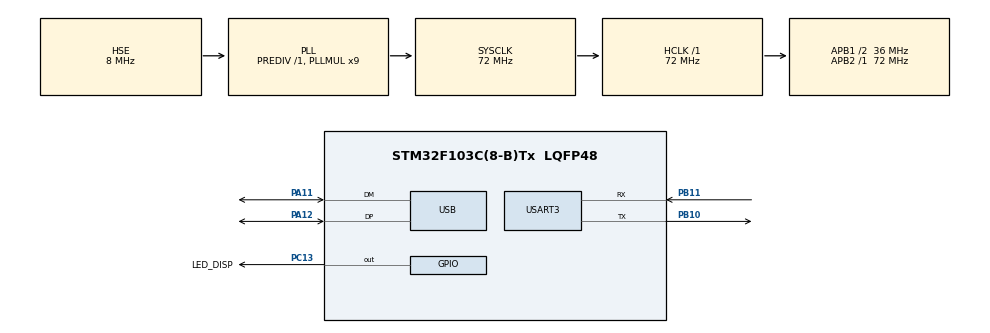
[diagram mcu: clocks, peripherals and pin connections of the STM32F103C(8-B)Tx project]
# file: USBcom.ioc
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Mcu.Family=STM32F1
Mcu.Name=STM32F103C(8-B)Tx
Mcu.Package=LQFP48
NVIC.PriorityGroup=NVIC_PRIORITYGROUP_4
NVIC.USART3_IRQn=true\:0\:0\:false\:false\:true\:true\:true\:true
NVIC.USB_LP_CAN1_RX0_IRQn=true\:0\:0\:false\:false\:true\:false\:true\:true
PA0-WKUP.Mode=SYS_WakeUp0
PA0-WKUP.Signal=SYS_WKUP
PA11.Mode=Device
PA11.Signal=USB_DM
PA12.Mode=Device
PA12.Signal=USB_DP
PB10.Mode=Asynchronous
PB10.Signal=USART3_TX
PB11.Mode=Asynchronous
PB11.Signal=USART3_RX
PC13-TAMPER-RTC.GPIO_Label=LED_DISP
PC13-TAMPER-RTC.Signal=GPIO_Output
PC14-OSC32_IN.Mode=LSE-External-Oscillator
PC14-OSC32_IN.Signal=RCC_OSC32_IN
PC15-OSC32_OUT.Mode=LSE-External-Oscillator
PC15-OSC32_OUT.Signal=RCC_OSC32_OUT
PD0-OSC_IN.Mode=HSE-External-Oscillator
PD0-OSC_IN.Signal=RCC_OSC_IN
PD1-OSC_OUT.Mode=HSE-External-Oscillator
PD1-OSC_OUT.Signal=RCC_OSC_OUT
ProjectManager.HeapSize=0x200
ProjectManager.StackSize=0x400
ProjectManager.TargetToolchain=MDK-ARM V5.32
RCC.AHBFreq_Value=72000000
RCC.APB1CLKDivider=RCC_HCLK_DIV2
RCC.APB1Freq_Value=36000000
RCC.APB1TimFreq_Value=72000000
RCC.APB2Freq_Value=72000000
RCC.APB2TimFreq_Value=72000000
RCC.HCLKFreq_Value=72000000
RCC.PLLMUL=RCC_PLL_MUL9
RCC.SYSCLKFreq_VALUE=72000000
RCC.SYSCLKSource=RCC_SYSCLKSOURCE_PLLCLK
RCC.USBFreq_Value=48000000
RCC.USBPrescaler=RCC_USBCLKSOURCE_PLL_DIV1_5
USART3.VirtualMode=VM_ASYNC
USB_DEVICE.CLASS_NAME_FS=CDC
USB_DEVICE.VirtualMode=Cdc
USB_DEVICE.VirtualModeFS=Cdc_FS
VP_SYS_VS_ND.Mode=No_Debug
VP_USB_DEVICE_VS_USB_DEVICE_CDC_FS.Mode=CDC_FS
board=custom

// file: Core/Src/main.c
/* USER CODE BEGIN Header */
/**
  ******************************************************************************
  * @file           : main.c
  * @brief          : Main program body
  ******************************************************************************
  * @attention
  *
  * Copyright (c) 2023 STMicroelectronics.
  * All rights reserved.
  *
  * This software is licensed under terms that can be found in the LICENSE file
  * in the root directory of this software component.
  * If no LICENSE file comes with this software, it is provided AS-IS.
  *
  ******************************************************************************
  */
/* USER CODE END Header */
#include "main.h"
#include "usart.h"
#include "usb_device.h"
#include "gpio.h"

/* USER CODE BEGIN Includes */

#include "usbd_cdc_if.h"
#include "stdio.h"
#include "string.h"
#include "usb_task.h"

/* USER CODE END Includes */

void SystemClock_Config(void);

/* USER CODE BEGIN 0 */
void USB_Status_Init(void)
{
    GPIO_InitTypeDef GPIO_InitStruct = {0};

    /* GPIO Ports Clock Enable */
    __HAL_RCC_GPIOA_CLK_ENABLE();

    /*Configure GPIO pin Output Level */
    HAL_GPIO_WritePin(GPIOA, GPIO_PIN_11 | GPIO_PIN_12, GPIO_PIN_RESET);

    /*Configure GPIO pin : W25Q256_CS_Pin */
    GPIO_InitStruct.Pin = GPIO_PIN_11 | GPIO_PIN_12;
    GPIO_InitStruct.Mode = GPIO_MODE_OUTPUT_PP;
    GPIO_InitStruct.Pull = GPIO_PULLDOWN;
    GPIO_InitStruct.Speed = GPIO_SPEED_FREQ_LOW;
    HAL_GPIO_Init(GPIOA, &GPIO_InitStruct);
    HAL_Delay(10);
}

/* USER CODE END 0 */

int main(void)
{

  /* MCU Configuration--------------------------------------------------------*/

  /* Reset of all peripherals, Initializes the Flash interface and the Systick. */
  HAL_Init();

  /* USER CODE BEGIN Init */
  USB_Status_Init();

  /* USER CODE END Init */

  /* Configure the system clock */
  SystemClock_Config();

  /* Initialize all configured peripherals */
  MX_GPIO_Init();
  MX_USB_DEVICE_Init();
  MX_USART3_UART_Init();
  /* USER CODE BEGIN 2 */
  usb_init();
  /* USER CODE END 2 */

  /* Infinite loop */
  while (1)
  {

    /* USER CODE BEGIN 3 */
    HAL_GPIO_TogglePin(LED_DISP_GPIO_Port,LED_DISP_Pin);
    HAL_Delay(500);
  }
  /* USER CODE END 3 */
}

void SystemClock_Config(void)
{
  RCC_OscInitTypeDef RCC_OscInitStruct = {0};
  RCC_ClkInitTypeDef RCC_ClkInitStruct = {0};
  RCC_PeriphCLKInitTypeDef PeriphClkInit = {0};

  /** Initializes the RCC Oscillators according to the specified parameters
  * in the RCC_OscInitTypeDef structure.
  */
  RCC_OscInitStruct.OscillatorType = RCC_OSCILLATORTYPE_HSE;
  RCC_OscInitStruct.HSEState = RCC_HSE_ON;
  RCC_OscInitStruct.HSEPredivValue = RCC_HSE_PREDIV_DIV1;
  RCC_OscInitStruct.HSIState = RCC_HSI_ON;
  RCC_OscInitStruct.PLL.PLLState = RCC_PLL_ON;
  RCC_OscInitStruct.PLL.PLLSource = RCC_PLLSOURCE_HSE;
  RCC_OscInitStruct.PLL.PLLMUL = RCC_PLL_MUL9;
  if (HAL_RCC_OscConfig(&RCC_OscInitStruct) != HAL_OK)
  {
    Error_Handler();
  }

  /** Initializes the CPU, AHB and APB buses clocks
  */
  RCC_ClkInitStruct.ClockType = RCC_CLOCKTYPE_HCLK|RCC_CLOCKTYPE_SYSCLK
                              |RCC_CLOCKTYPE_PCLK1|RCC_CLOCKTYPE_PCLK2;
  RCC_ClkInitStruct.SYSCLKSource = RCC_SYSCLKSOURCE_PLLCLK;
  RCC_ClkInitStruct.AHBCLKDivider = RCC_SYSCLK_DIV1;
  RCC_ClkInitStruct.APB1CLKDivider = RCC_HCLK_DIV2;
  RCC_ClkInitStruct.APB2CLKDivider = RCC_HCLK_DIV1;

  if (HAL_RCC_ClockConfig(&RCC_ClkInitStruct, FLASH_LATENCY_2) != HAL_OK)
  {
    Error_Handler();
  }
  PeriphClkInit.PeriphClockSelection = RCC_PERIPHCLK_USB;
  PeriphClkInit.UsbClockSelection = RCC_USBCLKSOURCE_PLL_DIV1_5;
  if (HAL_RCCEx_PeriphCLKConfig(&PeriphClkInit) != HAL_OK)
  {
    Error_Handler();
  }
}

void Error_Handler(void)
{
  __disable_irq();
  while (1)
  {
  }
}
